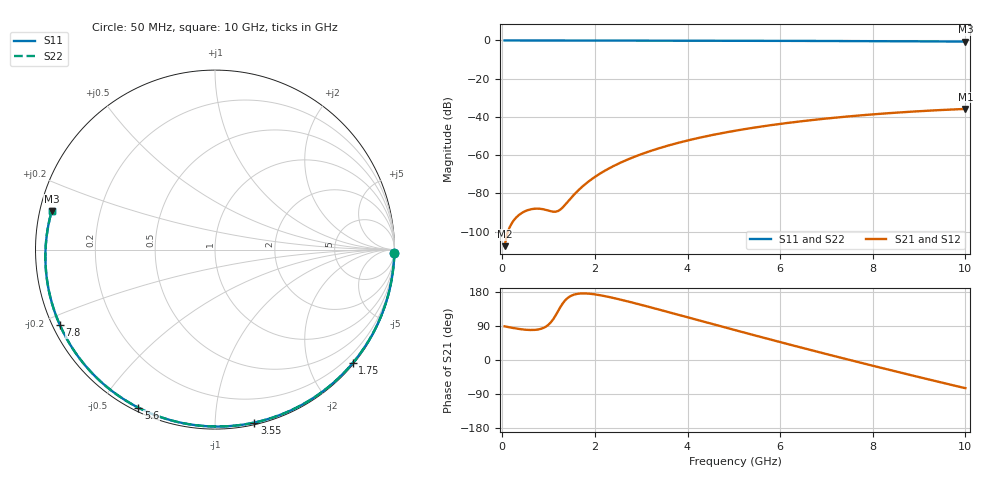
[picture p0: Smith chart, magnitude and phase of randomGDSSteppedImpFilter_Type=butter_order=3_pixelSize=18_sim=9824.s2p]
! freq	dB(S11)	phase(S11)	dB(S12)	phase(S12)
!  dB(S21)	phase(S21)	dB(S22)	phase(S22)
!S-par simulation data
#  GHz  S  DB  R 50
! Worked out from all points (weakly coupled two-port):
!   200 points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, 50 MHz to 10 GHz, reference 50 ohm
!   highest |S21| = -35.84 dB at 10 GHz (marker M1); lowest = -107.7 dB at 50 MHz (marker M2)
!   lowest |S11| = -0.6 dB at 10 GHz (marker M3), VSWR 29.69, Z = 1.71 + j5.8 ohm
!   |S11| at or under -10 dB: nowhere
!   |S22| runs from -0.6 to 0.0 dB; largest |S21 - S12| = 0
!   S11 on the Smith chart (normalised r, x): 50 MHz: open; 1.75 GHz: 0.03, -2.78; 3.55 GHz: 0.02, -1.25; 5.6 GHz: 0.02, -0.63; 7.8 GHz: 0.02, -0.23; 10 GHz: 0.03, +0.12
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0.05  -0.00 -1.1  -107.66 88.8  -107.66 88.8  -0.00 -1.1
0.45  -0.02 -10.3  -89.88 80.5  -89.88 80.5  -0.02 -10.3
0.8  -0.02 -18.3  -88.07 81.2  -88.07 81.2  -0.02 -18.3
1.55  -0.04 -35.1  -80.68 172.5  -80.68 172.5  -0.04 -35.1
1.6  -0.05 -36.2  -79.42 174.1  -79.42 174.1  -0.05 -36.2
1.75  -0.05 -39.5  -76.03 175.7  -76.03 175.7  -0.05 -39.5
2.05  -0.06 -46.0  -70.61 172.2  -70.61 172.2  -0.06 -46.0
2.25  -0.06 -50.3  -67.68 167.7  -67.68 167.7  -0.06 -50.3
2.45  -0.07 -54.6  -65.15 162.3  -65.15 162.3  -0.07 -54.6
2.9  -0.08 -64.0  -60.44 148.7  -60.44 148.7  -0.08 -64.0
3.4  -0.10 -74.2  -56.31 132.6  -56.31 132.6  -0.10 -74.2
3.55  -0.10 -77.2  -55.23 127.6  -55.23 127.6  -0.10 -77.2
4.3  -0.13 -91.8  -50.68 102.8  -50.68 102.8  -0.13 -91.8
5.05  -0.16 -105.8  -47.15 78.1  -47.15 78.1  -0.16 -105.9
5.6  -0.19 -115.8  -45.03 60.2  -45.03 60.2  -0.19 -115.8
6.15  -0.22 -125.6  -43.20 42.5  -43.20 42.5  -0.22 -125.6
6.7  -0.26 -135.2  -41.63 25.0  -41.63 25.0  -0.26 -135.2
7.25  -0.30 -144.7  -40.26 7.9  -40.26 7.9  -0.30 -144.7
7.8  -0.35 -154.2  -39.08 -9.1  -39.08 -9.1  -0.35 -154.2
8.35  -0.40 -163.7  -38.05 -25.8  -38.05 -25.8  -0.40 -163.7
9.2  -0.49 -178.6  -36.75 -51.1  -36.75 -51.1  -0.49 -178.7
10  -0.59 166.8  -35.84 -74.4  -35.84 -74.4  -0.59 166.7
